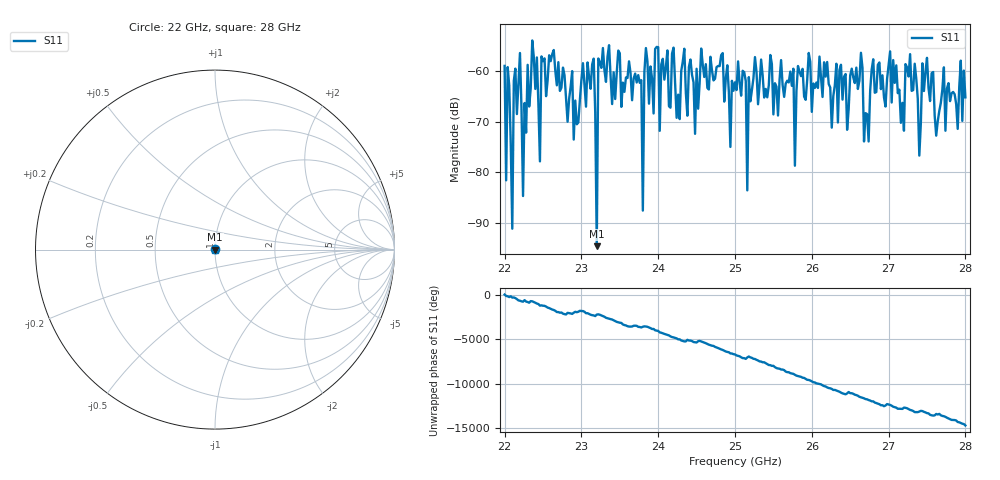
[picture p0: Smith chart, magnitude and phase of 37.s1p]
#  HZ  S  RI  R  50.00
! Rohde & Schwarz ZVA40 4Ports - Version 3.90 - 1145.1110k42 SN: 100403
! Date: 2023-10-04 06:50:43
! Measurement: S12
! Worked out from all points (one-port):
!   301 points, 22 GHz to 28 GHz, reference 50 ohm
!   lowest |S11| = -94.7 dB at 23.2 GHz (marker M1), VSWR 1.00, Z = 50 - j0.00144 ohm
!   |S11| at or under -10 dB: start of sweep to end of sweep
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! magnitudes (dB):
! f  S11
! 22 GHz  -58.9
! 22.02 GHz  -81.6
! 22.04 GHz  -59.1
! 22.1 GHz  -91.2
! 22.2 GHz  -56.3
! 22.24 GHz  -84.7
! 22.36 GHz  -53.9
! 22.46 GHz  -77.8
! 22.48 GHz  -57.0
! 22.76 GHz  -59.2
! 23.16 GHz  -57.5
! 23.2 GHz  -94.7
! 23.22 GHz  -57.4
! 23.5 GHz  -56.4
! 23.78 GHz  -61.7
! 23.8 GHz  -87.6
! 23.84 GHz  -55.4
! 24.26 GHz  -64.6
! 25 GHz  -62.2
! 25.14 GHz  -61.9
! 25.16 GHz  -83.6
! 25.26 GHz  -57.2
! 25.76 GHz  -59.5
! 25.78 GHz  -78.7
! 25.82 GHz  -58.9
! 26.5 GHz  -60.8
! 27.26 GHz  -61.0
! 28 GHz  -65.2
